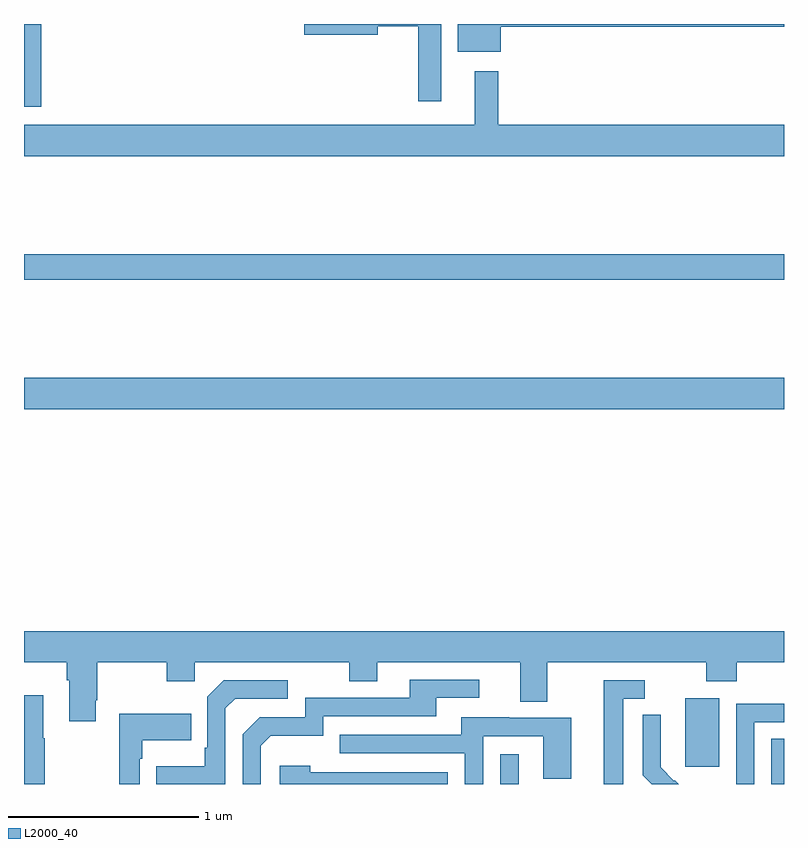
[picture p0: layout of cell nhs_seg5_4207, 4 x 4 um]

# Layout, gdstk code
import gdstk
lib = gdstk.Library(unit=1e-6, precision=1e-09)
def R(c, l, rs):  # rectangles x0, y0, x1, y1
    for r in rs: c.add(gdstk.rectangle(r[:2], r[2:], *l))
def P(c, l, *ps):  # polygons
    for p in ps: c.add(gdstk.Polygon(p, *l))
L2000_40 = (2000, 40)

nhs_seg5_4207 = lib.new_cell('nhs_seg5_4207')
R(nhs_seg5_4207, L2000_40, [(361.506,842.799,361.603,842.956), (362.933,842.799,363,843.038), (362.48,842.889,362.659,843.25), (359,844.772,363,844.936), (359,845.452,363,845.588), (359,846.363,359.09,846.799)])
P(nhs_seg5_4207, L2000_40, [(361.51,846.784),(363,846.784),(363,846.799),(361.283,846.799),(361.283,846.653),(361.51,846.653)],
  [(361.195,846.799),(360.474,846.799),(360.474,846.742),(360.862,846.742),(360.862,846.788),(361.074,846.788),(361.074,846.393),(361.195,846.393)],
  [(363,846.268),(361.495,846.268),(361.495,846.55),(361.373,846.55),(361.373,846.268),(359,846.268),(359,846.104),(363,846.104)],
  [(359.377,843.241),(359.385,843.241),(359.385,843.44),(359.752,843.44),(359.752,843.341),(359.898,843.341),(359.898,843.44),(360.712,843.44),(360.712,843.341),(360.859,843.341),(360.859,843.44),(361.613,843.44),(361.613,843.232),(361.753,843.232),(361.753,843.44),(362.59,843.44),(362.59,843.341),(362.75,843.341),(362.75,843.44),(363,843.44),(363,843.604),(359,843.604),(359,843.44),(359.225,843.44),(359.225,843.344),(359.237,843.344),(359.237,843.129),(359.377,843.129)],
  [(360.246,843),(360.299,843.053),(360.576,843.053),(360.576,843.156),(361.171,843.156),(361.171,843.252),(361.396,843.252),(361.396,843.348),(361.031,843.348),(361.031,843.252),(360.48,843.252),(360.48,843.15),(360.24,843.15),(360.15,843.06),(360.15,842.799),(360.246,842.799)],
  [(362.155,843.249),(362.266,843.249),(362.266,843.345),(362.051,843.345),(362.051,842.799),(362.155,842.799)],
  [(360.06,843.198),(360.111,843.249),(360.388,843.249),(360.388,843.345),(360.051,843.345),(359.964,843.258),(359.964,842.989),(359.952,842.989),(359.952,842.893),(359.695,842.893),(359.695,842.799),(360.06,842.799)],
  [(359.109,843.041),(359.101,843.041),(359.101,843.265),(359,843.265),(359,842.799),(359.109,842.799)],
  [(362.844,843.123),(363,843.123),(363,843.222),(362.748,843.222),(362.748,842.799),(362.844,842.799)],
  [(359.61,842.933),(359.623,842.933),(359.623,843.029),(359.879,843.029),(359.879,843.169),(359.502,843.169),(359.502,842.799),(359.61,842.799)],
  [(362.424,842.82),(362.421,842.817),(362.351,842.888),(362.351,843.01),(362.352,843.01),(362.352,843.164),(362.256,843.164),(362.256,842.846),(362.303,842.799),(362.445,842.799)],
  [(361.416,843.051),(361.734,843.051),(361.734,842.827),(361.879,842.827),(361.879,843.147),(361.555,843.147),(361.555,843.151),(361.301,843.151),(361.301,843.057),(360.661,843.057),(360.661,842.961),(361.32,842.961),(361.32,842.799),(361.416,842.799)],
  [(361.23,842.862),(360.506,842.862),(360.506,842.896),(360.345,842.896),(360.345,842.799),(361.23,842.799)])

lib.write_gds('nhs_seg5_4207.gds')
